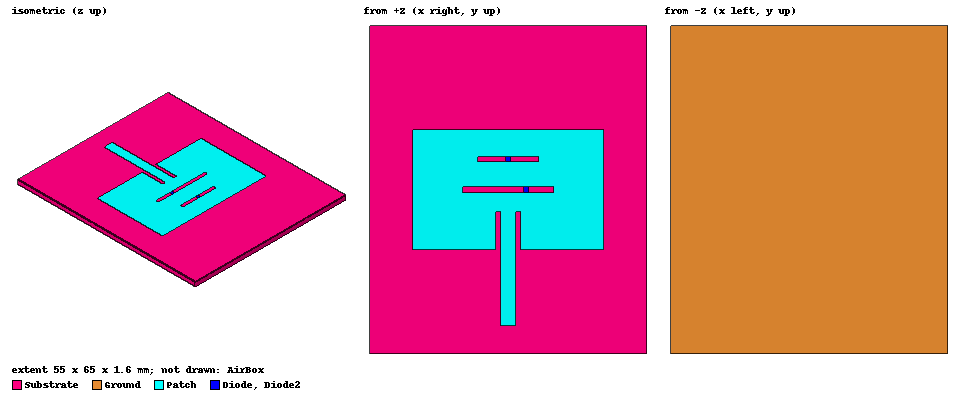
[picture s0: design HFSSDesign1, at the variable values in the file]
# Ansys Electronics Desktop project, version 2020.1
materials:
  vacuum: permittivity=1
  FR4_epoxy: permittivity=4.4 dielectric_loss_tangent=0.02

design HFSSDesign1 (HFSS, DrivenModal, model units mm)
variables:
  Wp = 38mm
  Lp = 23.9mm
  Ws = 55mm
  Ls = 65mm
  h = 1.6mm
  Wf = 3mm
  Lf = 15mm
  y0 = 7.5mm
  g = 1mm
  Lslot = 18mm
  Wslot = 1mm
  R_diode = 1.2ohm
  L_diode = 0.7nH
  C_diode = 0.001pF
  Lslot2 = 12mm
  Wslot2 = 1mm
  y_slot2 = 6mm
  R_diode2 = 1.2ohm
  L_diode2 = 0.7nH
  C_diode2 = 0.001pF
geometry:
  Ground = rectangle(corner=(-Ws/2, -Ls/2, 0mm), x_size=Ws, y_size=Ls)
  Substrate [FR4_epoxy] = box(corner=(-Ws/2, -Ls/2, 0mm), size=(Ws, Ls, h))
  Patch = rectangle(corner=(-Wp/2, -Lp/2, h), x_size=Wp, y_size=Lp)
  Feedline = rectangle(corner=(-Wf/2, -Lp/2-Lf, h), x_size=Wf, y_size=Lf + y0)
  Patch.unite(Feedline)
  notch1 = rectangle(corner=(-Wf/2-g, -Lp/2, h), x_size=g, y_size=y0)
  notch2 = rectangle(corner=(Wf/2, -Lp/2, h), x_size=g, y_size=y0)
  Patch.subtract(notch2)
  Patch.subtract(notch1)
  Port1 = rectangle(corner=(-Wf/2, -Lp/2-Lf, 0mm), z_size=h, x_size=Wf)
  Slot = rectangle(corner=(-Lslot/2, -Wslot/2, h), x_size=Lslot, y_size=Wslot)
  Patch.subtract(Slot)
  Diode = rectangle(corner=(3mm, -Wslot/2, h), x_size=1mm, y_size=Wslot)
  AirBox [vacuum] = region(percentage_offset=100 on all sides)
  Slot2 = rectangle(corner=(-Lslot2/2, y_slot2-Wslot2/2, h), x_size=Lslot2, y_size=Wslot2)
  Patch.subtract(Slot2)
  Diode2 = rectangle(corner=(-0.5mm, y_slot2-Wslot2/2, h), x_size=1mm, y_size=Wslot2)
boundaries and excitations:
  PerfE1: Perfect E Objects=Ground
  PerfE2: Perfect E Objects=Patch
  Rad1: Radiation Objects=AirBox
  SeriesRLC: Lumped RLC Objects=Diode CurrentLine{middle of Diode.edge(y at corner) -> middle of Diode.edge(y opposite corner)} Resistance=R_diode Inductance=L_diode Capacitance=C_diode
  LumpRLC1: Lumped RLC Objects=Diode2 CurrentLine{middle of Diode2.edge(y at corner) -> middle of Diode2.edge(y opposite corner)} Resistance=R_diode2 Inductance=L_diode2 Capacitance=C_diode2
  1: Lumped Port Objects=Port1 Modes{Mode1{IntLine{middle of Port1.edge(z at corner) -> middle of Port1.edge(z opposite corner)} CharImp=Zpi RenormImp=50ohm}} Impedance=50ohm
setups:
  Setup1: HfssDriven Frequency=2.7GHz MaxDeltaS=0.02 MaximumPasses=10 MinimumPasses=1 MinimumConvergedPasses=1 PercentRefinement=30 BasisOrder=1 PortAccuracy=2
    sweep Sweep: 1GHz to 4.5GHz step 0.01GHz; Type=Interpolating InterpTolerance=0.5 InterpMaxSolns=250 InterpUsePortImped=false PassivityErrorTolerance=0.0001
    sweep FarFieldSweep: point 4.2GHz; point 2.4GHz; point 3.7GHz; Type=Discrete SaveFields
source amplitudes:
  1:1: 1W 0deg
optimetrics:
  ParametricSetup1: Parametric Sim._Setups=[Setup1]
    sweep R_diode: 1.2ohm 10000ohm (synchronised group 1)
    sweep L_diode: 0.7nH 10000nH (synchronised group 1)
    sweep C_diode: 0.001pF 0.15pF (synchronised group 1)
    sweep R_diode2: 1.2ohm 10000ohm (synchronised group 2)
    sweep L_diode2: 0.7nH 1000nH (synchronised group 2)
    sweep C_diode2: 0.001pF 0.15pF (synchronised group 2)
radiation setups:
  Infinite Sphere1: Infinite Sphere Theta=-180deg..180deg step 2deg Phi=0deg..180deg step 2deg
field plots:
  Mag_Jsurf1: Jsurf over Patch.face(at (0, 0, 1.6)) Ground.face on Setup1 : FarFieldSweep at Freq=2.4GHz Phase=0deg
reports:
  S Parameter Plot 25: dB(S(1,1)) vs Freq on Setup1 : Sweep [R_diode=1.2ohm L_diode=0.7nH C_diode=0.001pF R_diode2=1.2ohm L_diode2=0.7nH C_diode2=0.001pF]; dB(S(1,1)) vs Freq on Setup1 : Sweep [R_diode=1.2ohm L_diode=0.7nH C_diode=0.001pF R_diode2=10000ohm L_diode2=1000nH C_diode2=0.15pF]; dB(S(1,1)) vs Freq on Setup1 : Sweep [R_diode=10000ohm L_diode=10000nH C_diode=0.15pF R_diode2=10000ohm L_diode2=1000nH C_diode2=0.15pF]; dB(S(1,1)) vs Freq on Setup1 : Sweep [R_diode=10000ohm L_diode=10000nH C_diode=0.15pF R_diode2=1.2ohm L_diode2=0.7nH C_diode2=0.001pF]
  Gain Plot 1: dB(GainTotal) vs Theta on Setup1 : FarFieldSweep, Infinite Sphere1 [Phi=0deg Freq=2.4GHz R_diode=all L_diode=all C_diode=all R_diode2=all L_diode2=all C_diode2=all]; markers m1 at 0deg
  Gain Plot 2: dB(GainTotal) vs Theta on Setup1 : FarFieldSweep, Infinite Sphere1 [Phi=0deg Freq=3.7GHz R_diode=all L_diode=all C_diode=all R_diode2=all L_diode2=all C_diode2=all]; markers m1 at 0deg
  Gain Plot 3: dB(GainTotal) vs Theta on Setup1 : FarFieldSweep, Infinite Sphere1 [Phi=0deg Freq=4.2GHz R_diode=all L_diode=all C_diode=all R_diode2=all L_diode2=all C_diode2=all]; markers m1 at 0deg
  VSWR Plot 1: VSWR(1) vs Freq on Setup1 : Sweep [R_diode=all L_diode=all C_diode=all R_diode2=all L_diode2=all C_diode2=all]; markers m1 at 2.326921GHz, m2 at 2.3318299GHz, m3 at 2.59GHz, m4 at 2.63GHz
  S Parameter Chart 1: S(1,1) on Setup1 : Sweep [Freq=all R_diode=all L_diode=all C_diode=all R_diode2=all L_diode2=all C_diode2=all]
